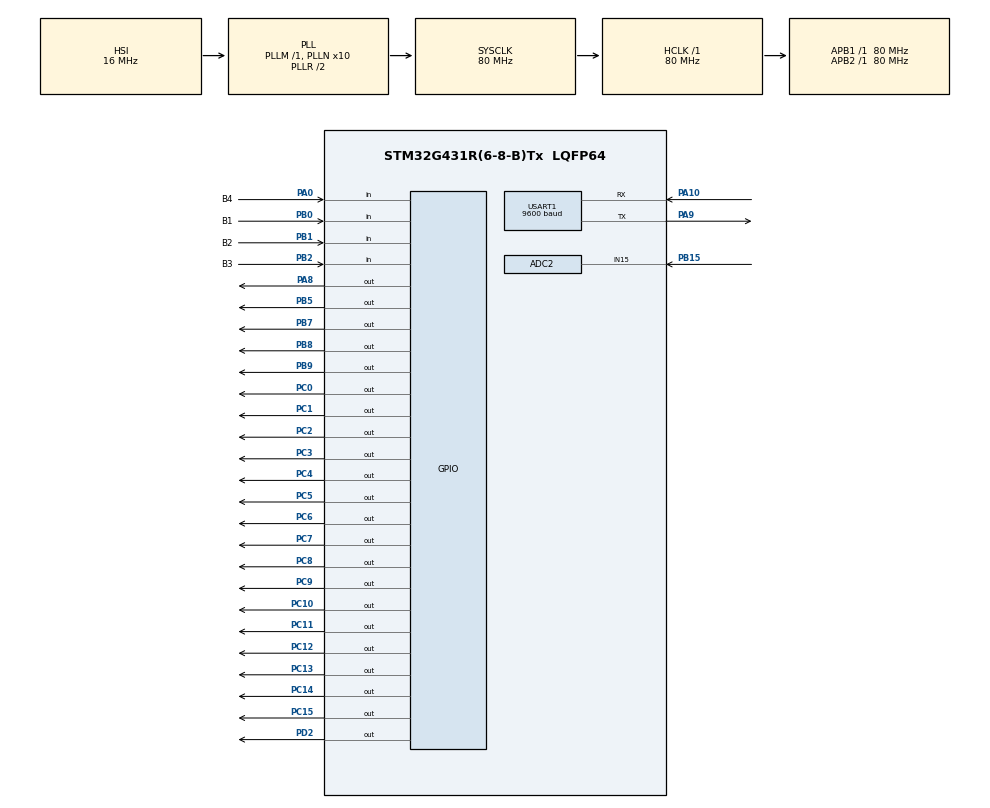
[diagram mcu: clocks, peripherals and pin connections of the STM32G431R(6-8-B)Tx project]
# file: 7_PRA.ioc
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ADC2.Channel-0\#ChannelRegularConversion=ADC_CHANNEL_15
ADC2.ClockPrescaler=ADC_CLOCK_ASYNC_DIV4
ADC2.NbrOfConversionFlag=1
ADC2.OffsetNumber-0\#ChannelRegularConversion=ADC_OFFSET_NONE
ADC2.Rank-0\#ChannelRegularConversion=1
ADC2.SamplingTime-0\#ChannelRegularConversion=ADC_SAMPLETIME_2CYCLES_5
Mcu.Family=STM32G4
Mcu.Name=STM32G431R(6-8-B)Tx
Mcu.Package=LQFP64
NVIC.PriorityGroup=NVIC_PRIORITYGROUP_4
NVIC.TIM1_UP_TIM16_IRQn=true\:0\:0\:true\:false\:true\:true\:true
NVIC.USART1_IRQn=true\:0\:0\:false\:false\:true\:true\:true
PA0.GPIO_Label=B4
PA0.Signal=GPIO_Input
PA10.Mode=Asynchronous
PA10.Signal=USART1_RX
PA13.Mode=Serial_Wire
PA13.Signal=SYS_JTMS-SWDIO
PA14.Mode=Serial_Wire
PA14.Signal=SYS_JTCK-SWCLK
PA8.Signal=GPIO_Output
PA9.Mode=Asynchronous
PA9.Signal=USART1_TX
PB0.GPIO_Label=B1
PB0.Signal=GPIO_Input
PB1.GPIO_Label=B2
PB1.Signal=GPIO_Input
PB15.Mode=IN15-Single-Ended
PB15.Signal=ADC2_IN15
PB2.GPIO_Label=B3
PB2.Signal=GPIO_Input
PB5.Signal=GPIO_Output
PB7.Signal=GPIO_Output
PB8-BOOT0.Signal=GPIO_Output
PB9.Signal=GPIO_Output
PC0.Signal=GPIO_Output
PC1.Signal=GPIO_Output
PC10.Signal=GPIO_Output
PC11.Signal=GPIO_Output
PC12.Signal=GPIO_Output
PC13.Signal=GPIO_Output
PC14-OSC32_IN.Signal=GPIO_Output
PC15-OSC32_OUT.Signal=GPIO_Output
PC2.Signal=GPIO_Output
PC3.Signal=GPIO_Output
PC4.Signal=GPIO_Output
PC5.Signal=GPIO_Output
PC6.Signal=GPIO_Output
PC7.Signal=GPIO_Output
PC8.Signal=GPIO_Output
PC9.Signal=GPIO_Output
PD2.Signal=GPIO_Output
PF0-OSC_IN.Mode=HSE-External-Oscillator
PF0-OSC_IN.Signal=RCC_OSC_IN
PF1-OSC_OUT.Mode=HSE-External-Oscillator
PF1-OSC_OUT.Signal=RCC_OSC_OUT
ProjectManager.HeapSize=0x200
ProjectManager.StackSize=0x400
ProjectManager.TargetToolchain=MDK-ARM V5.27
RCC.ADC12Freq_Value=80000000
RCC.AHBFreq_Value=80000000
RCC.APB1Freq_Value=80000000
RCC.APB1TimFreq_Value=80000000
RCC.APB2Freq_Value=80000000
RCC.APB2TimFreq_Value=80000000
RCC.CortexFreq_Value=80000000
RCC.EXTERNAL_CLOCK_VALUE=12288000
RCC.HCLKFreq_Value=80000000
RCC.HSE_VALUE=8000000
RCC.HSI48_VALUE=48000000
RCC.HSI_VALUE=16000000
RCC.LSE_VALUE=32768
RCC.PLLN=10
RCC.SYSCLKFreq_VALUE=80000000
RCC.SYSCLKSource=RCC_SYSCLKSOURCE_PLLCLK
RCC.USBFreq_Value=80000000
RCC.VCOOutputFreq_Value=160000000
TIM1.AutoReloadPreload=TIM_AUTORELOAD_PRELOAD_ENABLE
TIM1.PeriodNoDither=1000-1
TIM1.Prescaler=80-1
USART1.BaudRate=9600
USART1.VirtualMode-Asynchronous=VM_ASYNC
VP_SYS_VS_DBSignals.Mode=DisableDeadBatterySignals
VP_TIM1_VS_ClockSourceINT.Mode=Internal
board=custom

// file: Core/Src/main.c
/* USER CODE BEGIN Header */
/**
  ******************************************************************************
  * @file           : main.c
  * @brief          : Main program body
  ******************************************************************************
  * @attention
  *
  * <h2><center>&copy; Copyright (c) 2022 STMicroelectronics.
  * All rights reserved.</center></h2>
  *
  * This software component is licensed by ST under BSD 3-Clause license,
  * the "License"; You may not use this file except in compliance with the
  * License. You may obtain a copy of the License at:
  *                        opensource.org/licenses/BSD-3-Clause
  *
  ******************************************************************************
  */
/* USER CODE END Header */
#include "main.h"
#include "adc.h"
#include "tim.h"
#include "usart.h"
#include "gpio.h"

/* USER CODE BEGIN PV */
int n = 0, k = 0;
uint8_t data = 0, count = 1;
//lcd
char buff1[100];
char buff2[100];
char buff3[100];
char buff4[100];
//串口
uint8_t temp[10];
uint8_t re_data;
char buff5[100];
//adc值
float value;
uint8_t level1 = 30, level2 = 50, level3 = 70, level_now = 0, level_old;
int change;
float height;
int flag3 = 0;
int flag4 = 0;
//按键
int flag1 = 0, flag2 = 0;
/* USER CODE END PV */

void SystemClock_Config(void);

int main(void)
{

  /* MCU Configuration--------------------------------------------------------*/

  /* Reset of all peripherals, Initializes the Flash interface and the Systick. */
  HAL_Init();

  /* Configure the system clock */
  SystemClock_Config();

  /* Initialize all configured peripherals */
  MX_GPIO_Init();
  MX_TIM1_Init();
  MX_ADC2_Init();
  MX_USART1_UART_Init();
  /* USER CODE BEGIN 2 */
	I2CInit();
	LCD_Init();
	LCD_Clear(Black);

	//初始化一次
//	eeprom_wite(0x00, 10);
//	HAL_Delay(5);
//	eeprom_wite(0x01, 20);
//	HAL_Delay(5);
//	eeprom_wite(0x02, 70);
//	HAL_Delay(5);

	level1 = eeprom_read(0x00);
	HAL_Delay(5);
	level2 = eeprom_read(0x01);
	HAL_Delay(5);
	level3 = eeprom_read(0x02);

	led_off();
	LCD_SetTextColor(White);
	LCD_SetBackColor(Black);
	HAL_UART_Receive_IT(&huart1, (u8 *)temp, 1);
	value = adc_read() * 3.3/4096;
	HAL_TIM_Base_Start_IT(&htim1);

  /* USER CODE END 2 */

  /* Infinite loop */
  while (1)
  {

    /* USER CODE BEGIN 3 */
		//闪灯、adc读值并得到
		value = adc_read() * 3.3/4096;
		led_toggle(1);
		height = (100.0/3.3) * value;
		if(height <= level1)
			level_now = 0;
		else if ((height > level1) && (height <= level2))
			level_now = 1;
		else if ((height > level2) && (height <= level3))
			level_now = 2;
		else if (height > level3)
			level_now = 3;
		if (flag4 == 0)
		{
			level_old = level_now;
			flag4 = 1;
		}
		else
		{
			if(level_old != level_now)
			{
				if(level_old > level_now)
				{
					sprintf(buff5, "A:H%.0f+L%d+D\r\n", height, level_now);
					HAL_UART_Transmit(&huart1, (uint8_t *)buff5, strlen(buff5), 50);
				}
				else
				{
					sprintf(buff5, "A:H%.0f+L%d+U\r\n", height, level_now);
					HAL_UART_Transmit(&huart1, (uint8_t *)buff5, strlen(buff5), 50);
				}
			}
		}

		level_old = level_now;

		//lcd程序
		if(flag1 == 0)
		{
			sprintf(buff1, "  Liquid Level        ");
			LCD_DisplayStringLine(Line0, (u8 *)buff1);
			sprintf(buff2, "  Height:  %.0fcm        ", height);
			LCD_DisplayStringLine(Line3, (u8 *)buff2);
			sprintf(buff3, "  ADC:  %.2f        ", value);
			LCD_DisplayStringLine(Line5, (u8 *)buff3);
			sprintf(buff4, "  Level:  %d        ", level_now);
			LCD_DisplayStringLine(Line7, (u8 *)buff4);
		}
		else if(flag1 == 1)
		{
			sprintf(buff1, "  Parameter Setup        ");
			LCD_DisplayStringLine(Line0, (u8 *)buff1);

			if (flag2 == 1)
			{
				LCD_SetBackColor(Red);
				if ((level1 <= 95) && (level1 >= 5))
				{
					level1 += change;
					if (level1 > 95)
						level1 = 95;
					else if(level1 < 5)
						level1 = 5;
					eeprom_wite(0, level1);
					change = 0;
				}
			}
			sprintf(buff2, "  Threshold1:  %dcm        ", level1);
			LCD_DisplayStringLine(Line3, (u8 *)buff2);
			LCD_SetBackColor(Black);

			if (flag2 == 2)
			{
				LCD_SetBackColor(Red);
				if ((level2 <= 95) && (level2 >= 5))
				{
					level2 += change;
					if (level2 > 95)
						level2 = 95;
					else if(level2 < 5)
						level2 = 5;
					eeprom_wite(1, level2);
					change = 0;
				}
			}
			sprintf(buff3, "  Threshold1:  %dcm        ", level2);
			LCD_DisplayStringLine(Line5, (u8 *)buff3);
			LCD_SetBackColor(Black);

			if (flag2 == 3)
			{
				LCD_SetBackColor(Red);
				if ((level3 <= 95) && (level3 >= 5))
				{
					level3 += change;
					if (level3 > 95)
						level3 = 95;
					else if(level3 < 5)
						level3 = 5;
					eeprom_wite(2, level3);
					change = 0;
				}
			}
			sprintf(buff4, "  Threshold1:  %dcm        ", level3);
			LCD_DisplayStringLine(Line7, (u8 *)buff4);
			LCD_SetBackColor(Black);

		}
		HAL_Delay(1000);
  }
  /* USER CODE END 3 */
}

void SystemClock_Config(void)
{
  RCC_OscInitTypeDef RCC_OscInitStruct = {0};
  RCC_ClkInitTypeDef RCC_ClkInitStruct = {0};
  RCC_PeriphCLKInitTypeDef PeriphClkInit = {0};

  /** Configure the main internal regulator output voltage
  */
  HAL_PWREx_ControlVoltageScaling(PWR_REGULATOR_VOLTAGE_SCALE1);
  /** Initializes the RCC Oscillators according to the specified parameters
  * in the RCC_OscInitTypeDef structure.
  */
  RCC_OscInitStruct.OscillatorType = RCC_OSCILLATORTYPE_HSI;
  RCC_OscInitStruct.HSIState = RCC_HSI_ON;
  RCC_OscInitStruct.HSICalibrationValue = RCC_HSICALIBRATION_DEFAULT;
  RCC_OscInitStruct.PLL.PLLState = RCC_PLL_ON;
  RCC_OscInitStruct.PLL.PLLSource = RCC_PLLSOURCE_HSI;
  RCC_OscInitStruct.PLL.PLLM = RCC_PLLM_DIV1;
  RCC_OscInitStruct.PLL.PLLN = 10;
  RCC_OscInitStruct.PLL.PLLP = RCC_PLLP_DIV2;
  RCC_OscInitStruct.PLL.PLLQ = RCC_PLLQ_DIV2;
  RCC_OscInitStruct.PLL.PLLR = RCC_PLLR_DIV2;
  if (HAL_RCC_OscConfig(&RCC_OscInitStruct) != HAL_OK)
  {
    Error_Handler();
  }
  /** Initializes the CPU, AHB and APB buses clocks
  */
  RCC_ClkInitStruct.ClockType = RCC_CLOCKTYPE_HCLK|RCC_CLOCKTYPE_SYSCLK
                              |RCC_CLOCKTYPE_PCLK1|RCC_CLOCKTYPE_PCLK2;
  RCC_ClkInitStruct.SYSCLKSource = RCC_SYSCLKSOURCE_PLLCLK;
  RCC_ClkInitStruct.AHBCLKDivider = RCC_SYSCLK_DIV1;
  RCC_ClkInitStruct.APB1CLKDivider = RCC_HCLK_DIV1;
  RCC_ClkInitStruct.APB2CLKDivider = RCC_HCLK_DIV1;

  if (HAL_RCC_ClockConfig(&RCC_ClkInitStruct, FLASH_LATENCY_2) != HAL_OK)
  {
    Error_Handler();
  }
  /** Initializes the peripherals clocks
  */
  PeriphClkInit.PeriphClockSelection = RCC_PERIPHCLK_USART1|RCC_PERIPHCLK_ADC12;
  PeriphClkInit.Usart1ClockSelection = RCC_USART1CLKSOURCE_PCLK2;
  PeriphClkInit.Adc12ClockSelection = RCC_ADC12CLKSOURCE_SYSCLK;
  if (HAL_RCCEx_PeriphCLKConfig(&PeriphClkInit) != HAL_OK)
  {
    Error_Handler();
  }
}

/* USER CODE BEGIN 4 */
void HAL_TIM_PeriodElapsedCallback(TIM_HandleTypeDef *htim)
{
	if(htim == &htim1)
	{

		//按键切换
		if (Key_Scan(B1_GPIO_Port, B1_Pin) == 1)
		{
			flag1++;
			if(flag1 > 1)
				flag1 = 0;
		}
		else if (Key_Scan(B2_GPIO_Port, B2_Pin) == 1)
		{
			flag2++;
			if(flag2 > 3)
				flag2 = 0;
		}
		else if (Key_Scan(B3_GPIO_Port, B3_Pin) == 1)
		{
			change = 5;
		}
		else if (Key_Scan(B4_GPIO_Port, B4_Pin) == 1)
		{
			change = -5;
		}

		//串口操作
		if(temp[0] == 'C')
		{
			sprintf(buff5, "C:H%.0f+L%d\r\n", height, level_now);
			HAL_UART_Transmit(&huart1, (uint8_t *)buff5, strlen(buff5), 50);
			temp[0] = '0';
		}
		else if (temp[0] == 'S')
		{
			sprintf(buff5, "S:TL%d+TM%d+TH%d\r\n", level1, level2, level3);
			HAL_UART_Transmit(&huart1, (uint8_t *)buff5, strlen(buff5), 50);
			temp[0] = '0';
		}
	}
}

void HAL_UART_RxCpltCallback(UART_HandleTypeDef *huart)
{
	HAL_UART_Receive_IT(&huart1, (u8 *)temp, 1);
}

/* USER CODE END 4 */

void Error_Handler(void)
{
  __disable_irq();
  while (1)
  {
  }
}

/************************ (C) COPYRIGHT STMicroelectronics *****END OF FILE****/
